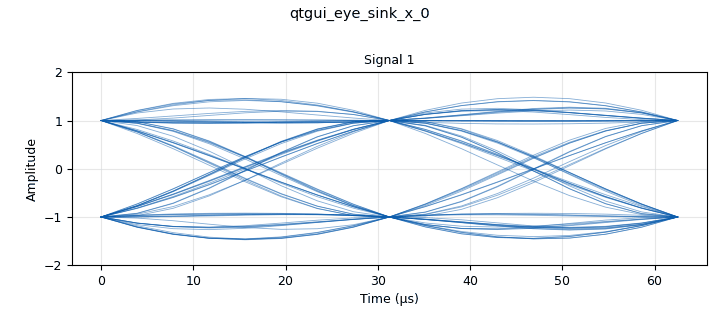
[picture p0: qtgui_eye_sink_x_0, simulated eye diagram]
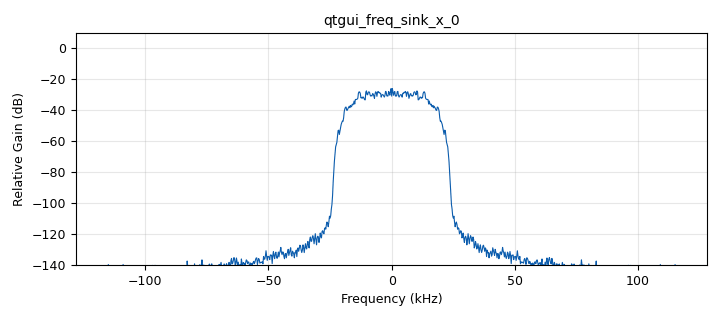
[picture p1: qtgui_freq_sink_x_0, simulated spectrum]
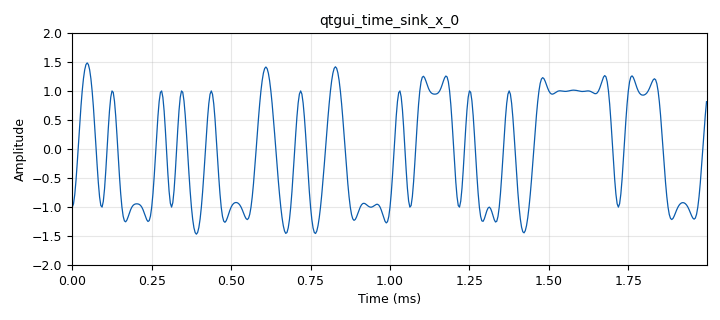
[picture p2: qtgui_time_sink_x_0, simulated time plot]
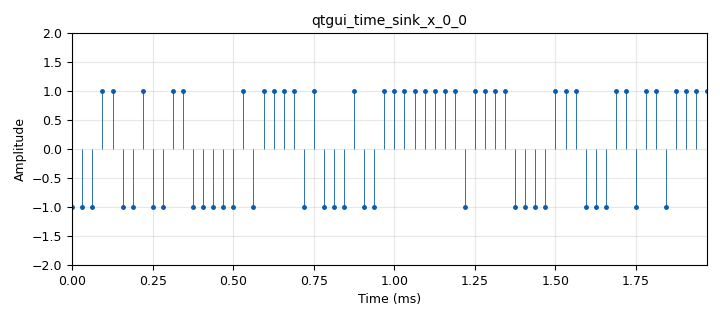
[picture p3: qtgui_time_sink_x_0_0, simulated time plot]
options:
  parameters:
    author: radiogis_director
    generate_options: qt_gui
    id: ej1
    output_language: python
    title: ej1
  states: {}

blocks:
- name: Fmax
  id: variable
  parameters:
    value: samp_rate/2
  states: {}
- name: Rb
  id: variable
  parameters:
    value: Rs*bps
  states: {}
- name: Rs
  id: variable
  parameters:
    value: '32000'
  states: {}
- name: Sps
  id: variable
  parameters:
    value: '8'
  states: {}
- name: beta
  id: variable_qtgui_range
  parameters:
    gui_hint: 1,0,1,1
    label: beta
    start: '0'
    step: 1/100
    stop: '1'
    value: '0.5'
  states: {}
- name: bps
  id: variable
  parameters:
    value: '1'
  states: {}
- name: h
  id: variable
  parameters:
    value: wform.nyq(Sps,ntaps)
  states: {state: disabled}
- name: h
  id: variable
  parameters:
    value: '[1]*Sps'
  states: {state: disabled}
- name: h
  id: variable
  parameters:
    value: wform.rcos(Sps,ntaps,beta)
  states: {}
- name: ntaps
  id: variable
  parameters:
    value: '256'
  states: {}
- name: samp_rate
  id: variable
  parameters:
    value: Rs*Sps
  states: {}
- name: analog_noise_source_x_0
  id: analog_noise_source_x
  parameters:
    amp: 0.2*0
    noise_type: analog.GR_GAUSSIAN
    seed: '0'
    type: float
  states: {}
- name: analog_random_source_x_0
  id: analog_random_source_x
  parameters:
    max: '2'
    min: '0'
    num_samps: '1000'
    repeat: 'True'
    type: byte
  states: {}
- name: blocks_add_const_vxx_0
  id: blocks_add_const_vxx
  parameters:
    const: '-0.5'
    type: float
  states: {}
- name: blocks_add_xx_0
  id: blocks_add_xx
  parameters:
    type: float
  states: {}
- name: blocks_char_to_float_0
  id: blocks_char_to_float
  parameters:
    scale: '1'
  states: {}
- name: blocks_multiply_const_vxx_0
  id: blocks_multiply_const_vxx
  parameters:
    const: '2'
    type: float
  states: {}
- name: import_0
  id: import
  parameters:
    imports: import math
  states: {}
- name: interp_fir_filter_xxx_0
  id: interp_fir_filter_xxx
  parameters:
    interp: Sps
    taps: h
    type: fff
  states: {}
- name: menu
  id: qtgui_tab_widget
  parameters:
    gui_hint: 4,0,1,1
    label0: Time
    label1: PSD
    label2: Eye Diagram
    num_tabs: '3'
  states: {}
- name: qtgui_eye_sink_x_0
  id: qtgui_eye_sink_x
  parameters:
    gui_hint: menu@2:0,0,1,1
    samp_per_symbol: Sps
    size: '1024'
    srate: samp_rate
    type: float
    width1: '3'
    ymax: '2'
    ymin: '-2'
  states: {}
- name: qtgui_freq_sink_x_0
  id: qtgui_freq_sink_x
  parameters:
    average: '0.05'
    bw: samp_rate
    fc: '0'
    fftsize: '1024'
    gui_hint: menu@1:0,0,1,1
    type: float
    width1: '3'
  states: {}
- name: qtgui_time_sink_x_0
  id: qtgui_time_sink_x
  parameters:
    gui_hint: menu@0:1,0,1,1
    size: 64*Sps
    srate: samp_rate
    type: float
    width1: '3'
    ymax: '2'
    ymin: '-2'
  states: {}
- name: qtgui_time_sink_x_0_0
  id: qtgui_time_sink_x
  parameters:
    gui_hint: menu@0:0,0,1,1
    marker1: '0'
    size: '64'
    srate: Rs
    stemplot: 'True'
    type: float
    width1: '3'
    ymax: '2'
    ymin: '-2'
  states: {}
- name: virtual_sink_0
  id: virtual_sink
  parameters:
    stream_id: p1
  states: {}
- name: virtual_sink_0_0
  id: virtual_sink
  parameters:
    stream_id: p0
  states: {}
- name: virtual_sink_0_0_0
  id: virtual_sink
  parameters:
    stream_id: p-1
  states: {}
- name: virtual_source_0
  id: virtual_source
  parameters:
    stream_id: p1
  states: {}
- name: virtual_source_0_0
  id: virtual_source
  parameters:
    stream_id: p0
  states: {}
- name: virtual_source_0_0_0
  id: virtual_source
  parameters:
    stream_id: p-1
  states: {}
- name: wform
  id: epy_module
  parameters:
    source_code: |
      import math
      import numpy
      #######################################################
      ##        Hecho por Homero Ortega Boada              ##
      ##        comdiguis@saber.uis.edu.co                 ##
      ##     Universidad Industrial de Santander           ##
      #######################################################

      #######################################################
      ##               Forma rectangular                   ##
      #######################################################                       
      def rect(Sps):
          return Sps*[1.,]

      #######################################################
      ##               Forma de Nyquist                    ##
      #######################################################                       
      def nyq(Sps,ntaps):
          n=numpy.linspace(-int(ntaps/2), int(ntaps/2-1),ntaps)
          h=numpy.sinc(n/Sps)
      #    return h/numpy.amax(h)
          return h
      #######################################################
      ##               Forma Coseno Alzado                 ##
      #######################################################                       
      def rcos(Sps,ntaps,beta):
          if beta==0:
              h=nyq(Sps,ntaps)
          else:
              h=ntaps*[0,]
              for n in range(ntaps):
                  k=n-ntaps/2. # esto es para que h[n] quede centrada en la mitad del vector
                  if abs(k)==Sps/(2.*beta):
                      h[n]=numpy.sinc(1./(2.*beta))*math.pi/4.
                  else:
                      h[n]=numpy.sinc(k/Sps)*math.cos(beta*k*math.pi/Sps)/(1.-(2.*beta*k/Sps)**2)                
          Amp=numpy.amax(h)
          return h/Amp
      #######################################################
      ##            Forma Raiz de Coseno Alzado            ##
      #######################################################                       

      def rrcos(Sps,ntaps,beta):
          if beta==0:
              h=nyq(Sps,ntaps)
          else:
              h=ntaps*[0,]
              beta4=4.*beta
              for n in range(ntaps):
                  k=n-ntaps/2. # esto es para que h[n] quede centrada en la mitad del vector
                  if k==0:
                      h[n]=1+beta*(4./math.pi-1.)
                  elif abs(k)==Sps/beta4:
                      ha=(1.+2./math.pi)*math.sin(math.pi/beta4)
                      hb=(1.-2./math.pi)*math.cos(math.pi/beta4)
                      h[n]=(ha+hb)*beta/math.sqrt(2.)
                  else:
                      ks=k/Sps
                      kspi=math.pi*ks
                      Num=math.sin(kspi*(1-beta))+beta4*ks*math.cos(kspi*(1+beta))
                      Den=kspi*(1.-(beta4*ks)**2)
                      h[n]=Num/Den                
          Amp=numpy.amax(h)
          return h/Amp
      ########################################################
      ##     Bipolar non return to zero level signal        ##
      ########################################################
      def B_NRZ_L(Sps):
          return Sps*[1.,]

      ########################################################
      ##  Forma sinc . Es la misma nyq() que aparece arriba ##
      ########################################################
      def sinc(Sps,ntaps):
          n=np.linspace(-int(ntaps/2), int(ntaps/2-1),ntaps)
          h=np.sinc(n/Sps)
          return h
      ########################################################
      ##              forma diente se sierra                ##
      ########################################################
      def saw(Sps):
          return np.linspace(0,Sps-1,Sps)	
      ########################################################
      #         Bipolar non return to zero signal           ##
      ########################################################
      def RZ(Sps):
          h=Sps*[1.,]
          Sps_m=int(Sps/2)
          h[Sps_m+1:Sps:1]=np.zeros(Sps-Sps_m)
          return h
  states: {}

connections:
- [analog_noise_source_x_0, '0', blocks_add_xx_0, '0']
- [analog_random_source_x_0, '0', blocks_char_to_float_0, '0']
- [blocks_add_const_vxx_0, '0', blocks_multiply_const_vxx_0, '0']
- [blocks_add_xx_0, '0', virtual_sink_0, '0']
- [blocks_char_to_float_0, '0', blocks_add_const_vxx_0, '0']
- [blocks_multiply_const_vxx_0, '0', interp_fir_filter_xxx_0, '0']
- [blocks_multiply_const_vxx_0, '0', virtual_sink_0_0_0, '0']
- [interp_fir_filter_xxx_0, '0', blocks_add_xx_0, '1']
- [interp_fir_filter_xxx_0, '0', virtual_sink_0_0, '0']
- [virtual_source_0, '0', qtgui_eye_sink_x_0, '0']
- [virtual_source_0, '0', qtgui_time_sink_x_0, '0']
- [virtual_source_0_0, '0', qtgui_freq_sink_x_0, '0']
- [virtual_source_0_0_0, '0', qtgui_time_sink_x_0_0, '0']

metadata:
  file_format: 1
